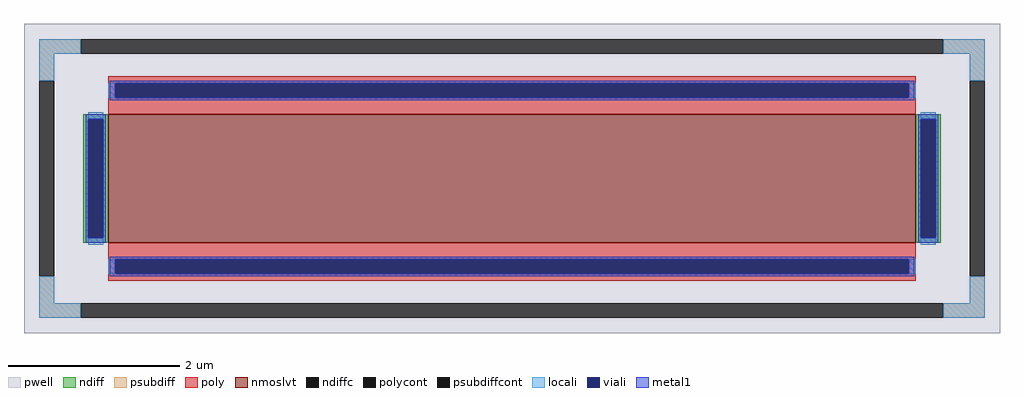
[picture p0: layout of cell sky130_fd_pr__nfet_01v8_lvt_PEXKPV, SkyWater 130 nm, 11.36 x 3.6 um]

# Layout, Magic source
magic
tech sky130A
<< pwell >>
rect -568 -180 568 180
<< nmoslvt >>
rect -470 -75 470 75
<< ndiff >>
rect -499 69 -470 75
rect -499 -69 -493 69
rect -476 -69 -470 69
rect -499 -75 -470 -69
rect 470 69 499 75
rect 470 -69 476 69
rect 493 -69 499 69
rect 470 -75 499 -69
<< ndiffc >>
rect -493 -69 -476 69
rect 476 -69 493 69
<< psubdiff >>
rect -550 145 -502 162
rect 502 145 550 162
rect -550 114 -533 145
rect 533 114 550 145
rect -550 -145 -533 -114
rect 533 -145 550 -114
rect -550 -162 -502 -145
rect 502 -162 550 -145
<< psubdiffcont >>
rect -502 145 502 162
rect -550 -114 -533 114
rect 533 -114 550 114
rect -502 -162 502 -145
<< poly >>
rect -470 111 470 119
rect -470 94 -462 111
rect 462 94 470 111
rect -470 75 470 94
rect -470 -94 470 -75
rect -470 -111 -462 -94
rect 462 -111 470 -94
rect -470 -119 470 -111
<< polycont >>
rect -462 94 462 111
rect -462 -111 462 -94
<< locali >>
rect -550 145 -502 162
rect 502 145 550 162
rect -550 114 -533 145
rect 533 114 550 145
rect -470 94 -462 111
rect 462 94 470 111
rect -493 69 -476 77
rect -493 -77 -476 -69
rect 476 69 493 77
rect 476 -77 493 -69
rect -470 -111 -462 -94
rect 462 -111 470 -94
rect -550 -145 -533 -114
rect 533 -145 550 -114
rect -550 -162 -502 -145
rect 502 -162 550 -145
<< viali >>
rect -462 94 462 111
rect -493 -69 -476 69
rect 476 -69 493 69
rect -462 -111 462 -94
<< metal1 >>
rect -468 111 468 114
rect -468 94 -462 111
rect 462 94 468 111
rect -468 91 468 94
rect -496 69 -473 75
rect -496 -69 -493 69
rect -476 -69 -473 69
rect -496 -75 -473 -69
rect 473 69 496 75
rect 473 -69 476 69
rect 493 -69 496 69
rect 473 -75 496 -69
rect -468 -94 468 -91
rect -468 -111 -462 -94
rect 462 -111 468 -94
rect -468 -114 468 -111
<< properties >>
string FIXED_BBOX -541 -153 541 153
string gencell sky130_fd_pr__nfet_01v8_lvt
string library sky130
string parameters w 1.5 l 9.4 m 1 nf 1 diffcov 100 polycov 100 guard 1 glc 1 grc 1 gtc 1 gbc 1 tbcov 100 rlcov 100 topc 1 botc 1 poverlap 0 doverlap 1 lmin 0.15 wmin 0.42 class mosfet compatible {sky130_fd_pr__nfet_01v8 sky130_fd_pr__nfet_01v8_lvt  sky130_fd_bs_flash__special_sonosfet_star  sky130_fd_pr__nfet_g5v0d10v5 sky130_fd_pr__nfet_05v0_nvt  sky130_fd_pr__nfet_03v3_nvt} full_metal 1 viasrc 100 viadrn 100 viagate 100 viagb 0 viagr 0 viagl 0 viagt 0
<< end >>
